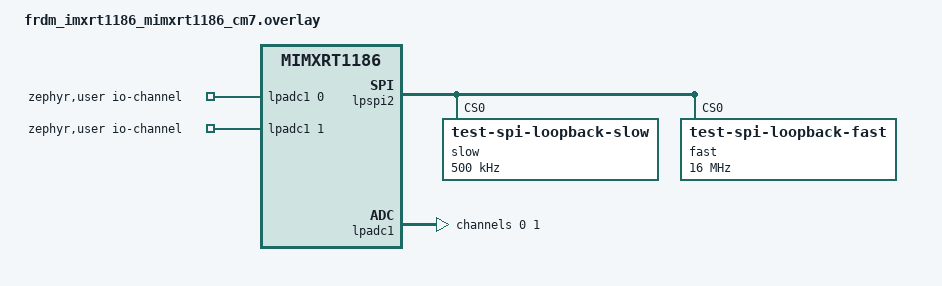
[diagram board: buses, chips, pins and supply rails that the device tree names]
/*
 * Copyright 2026 NXP
 *
 * SPDX-License-Identifier: Apache-2.0
 */

/* To test this sample, connect J3-14 (LPSPI2_SOUT) <-> J3-16 (LPSPI2_SIN) */

&lpspi2 {
	slow@0 {
		compatible = "test-spi-loopback-slow";
		reg = <0>;
		spi-max-frequency = <500000>;
	};

	fast@0 {
		compatible = "test-spi-loopback-fast";
		reg = <0>;
		spi-max-frequency = <16000000>;
	};

	transfer-delay = <100>;
	pcs-sck-delay = <100>;
	sck-pcs-delay = <100>;
};

#include <zephyr/dt-bindings/adc/adc.h>

#include <zephyr/dt-bindings/adc/mcux-lpadc.h>

/ {
	zephyr,user {
		io-channels = <&lpadc1 0>, <&lpadc1 1>;
	};
};

&lpadc1 {
	#address-cells = <1>;
	#size-cells = <0>;
	channel@0 {
		reg = <0>;
		zephyr,gain = "ADC_GAIN_1";
		zephyr,reference = "ADC_REF_EXTERNAL0";
		zephyr,vref-mv = <1800>;
		zephyr,acquisition-time = <ADC_ACQ_TIME_DEFAULT>;
		zephyr,resolution = <12>;
		zephyr,input-positive = <MCUX_LPADC_CH1B>;
	};
	channel@1 {
		reg = <1>;
		zephyr,gain = "ADC_GAIN_1";
		zephyr,reference = "ADC_REF_EXTERNAL0";
		zephyr,vref-mv = <1800>;
		zephyr,acquisition-time = <ADC_ACQ_TIME_DEFAULT>;
		zephyr,resolution = <12>;
		zephyr,input-positive = <MCUX_LPADC_CH0A>;
	};
};
